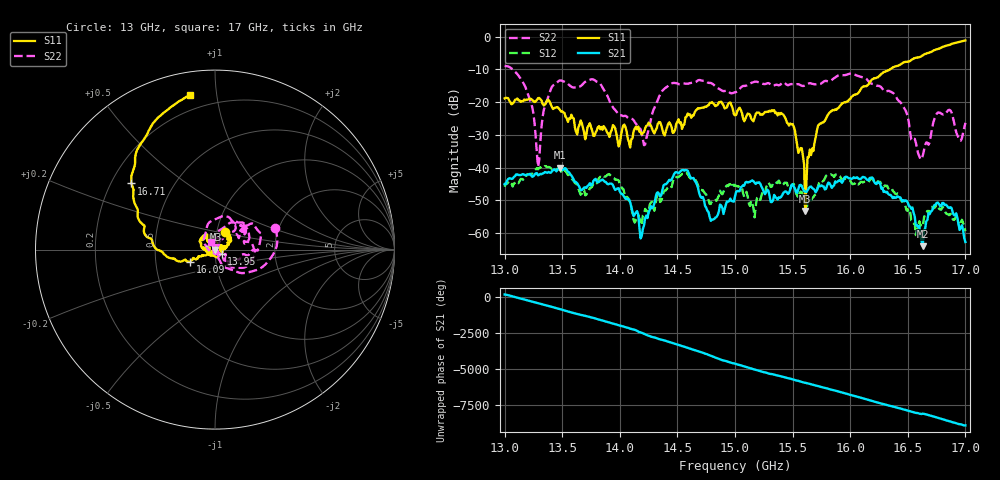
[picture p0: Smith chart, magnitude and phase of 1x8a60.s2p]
!Keysight Technologies,P9374A,MY57211807,A.19.30.04
!Date: Friday, May 08, 2026 14:15:56
!Correction: S11(C  2-Port  )
!S21(C  2-Port  )
!S12(C  2-Port  )
!S22(C  2-Port  )
!S2P File: Measurements: S11, S21, S12, S22:
# Hz S  dB  R 50
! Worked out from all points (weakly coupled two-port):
!   401 points, 13 GHz to 17 GHz, reference 50 ohm
!   highest |S21| = -40.02 dB at 13.48 GHz (marker M1); lowest = -64.0 dB at 16.63 GHz (marker M2)
!   lowest |S11| = -53.2 dB at 15.61 GHz (marker M3), VSWR 1.00, Z = 50.2 + j0.0263 ohm
!   |S11| at or under -10 dB: start of sweep to 16.35 GHz
!   |S22| runs from -39.7 to -9.0 dB; largest |S21 - S12| = 0.0042
!   S11 on the Smith chart (normalised r, x): 13 GHz: 1.10, +0.22; 13.95 GHz: 1.08, -0.05; 16.09 GHz: 0.75, -0.10; 16.71 GHz: 0.28, +0.32; 17 GHz: 0.12, +0.84
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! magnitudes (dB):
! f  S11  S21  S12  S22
! 13 GHz  -18.8  -45.0  -45.8  -9.0
! 13.19 GHz  -19.2  -42.2  -42.3  -16.3
! 13.29 GHz  -18.8  -42.3  -40.5  -39.7
! 13.36 GHz  -20.1  -41.5  -39.6  -20.2
! 13.48 GHz  -22.3  -40.0  -40.4  -13.4
! 13.67 GHz  -26.4  -46.9  -48.0  -14.8
! 13.95 GHz  -27.3  -46.1  -43.2  -22.0
! 14.19 GHz  -29.9  -60.9  -57.6  -29.4
! 14.34 GHz  -26.1  -48.0  -48.4  -18.4
! 14.56 GHz  -26.8  -40.9  -42.1  -14.3
! 14.8 GHz  -20.0  -55.9  -50.2  -14.3
! 15 GHz  -24.0  -48.8  -45.3  -17.0
! 15.16 GHz  -25.9  -44.1  -52.3  -13.9
! 15.42 GHz  -23.8  -47.7  -45.1  -14.0
! 15.61 GHz  -53.2  -47.3  -52.1  -14.9
! 15.67 GHz  -34.1  -46.2  -49.3  -14.4
! 15.81 GHz  -23.7  -44.6  -42.3  -13.7
! 16.09 GHz  -16.1  -43.5  -44.4  -12.3
! 16.34 GHz  -10.2  -48.3  -46.1  -16.6
! 16.63 GHz  -5.7  -64.0  -57.9  -36.3
! 16.71 GHz  -4.5  -53.1  -52.0  -28.1
! 17 GHz  -1.2  -62.7  -59.4  -26.3
